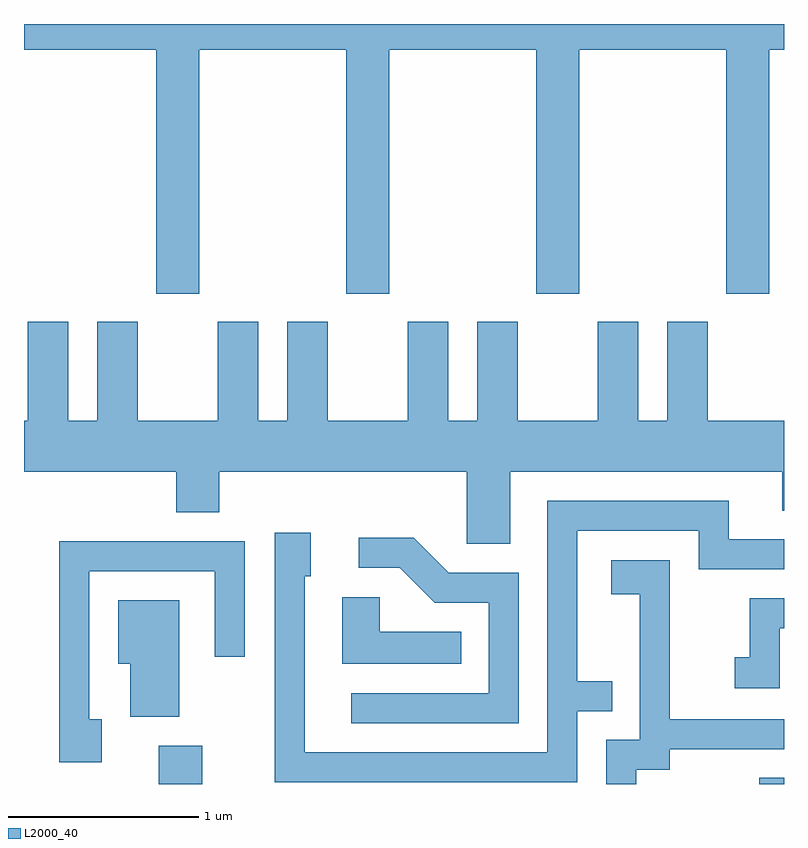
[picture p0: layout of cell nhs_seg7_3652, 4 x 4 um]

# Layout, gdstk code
import gdstk
lib = gdstk.Library(unit=1e-6, precision=1e-09)
def R(c, l, rs):  # rectangles x0, y0, x1, y1
    for r in rs: c.add(gdstk.rectangle(r[:2], r[2:], *l))
def P(c, l, *ps):  # polygons
    for p in ps: c.add(gdstk.Polygon(p, *l))
L2000_40 = (2000, 40)

nhs_seg7_3652 = lib.new_cell('nhs_seg7_3652')
R(nhs_seg7_3652, L2000_40, [(298.321,1688.252,298.549,1688.454), (301.481,1688.252,301.611,1688.284)])
P(nhs_seg7_3652, L2000_40, [(299.306,1690.831),(299.534,1690.831),(299.534,1692.116),(300.306,1692.116),(300.306,1690.831),(300.534,1690.831),(300.534,1692.116),(301.306,1692.116),(301.306,1690.831),(301.534,1690.831),(301.534,1692.116),(301.611,1692.116),(301.611,1692.252),(297.611,1692.252),(297.611,1692.116),(298.306,1692.116),(298.306,1690.831),(298.534,1690.831),(298.534,1692.116),(299.306,1692.116)],
  [(300.169,1689.896),(301.601,1689.896),(301.601,1689.691),(301.611,1689.691),(301.611,1690.164),(301.209,1690.164),(301.209,1690.684),(300.996,1690.684),(300.996,1690.164),(300.844,1690.164),(300.844,1690.684),(300.631,1690.684),(300.631,1690.164),(300.209,1690.164),(300.209,1690.684),(299.996,1690.684),(299.996,1690.164),(299.844,1690.164),(299.844,1690.684),(299.631,1690.684),(299.631,1690.164),(299.209,1690.164),(299.209,1690.684),(298.996,1690.684),(298.996,1690.164),(298.844,1690.164),(298.844,1690.684),(298.631,1690.684),(298.631,1690.164),(298.209,1690.164),(298.209,1690.684),(297.996,1690.684),(297.996,1690.164),(297.844,1690.164),(297.844,1690.684),(297.631,1690.684),(297.631,1690.164),(297.611,1690.164),(297.611,1689.896),(298.411,1689.896),(298.411,1689.681),(298.639,1689.681),(298.639,1689.896),(299.941,1689.896),(299.941,1689.516),(300.169,1689.516)],
  [(300.524,1688.636),(300.708,1688.636),(300.708,1688.794),(300.524,1688.794),(300.524,1689.586),(301.161,1689.586),(301.161,1689.381),(301.611,1689.381),(301.611,1689.539),(301.319,1689.539),(301.319,1689.744),(300.366,1689.744),(300.366,1688.419),(299.089,1688.419),(299.089,1689.346),(299.119,1689.346),(299.119,1689.574),(298.931,1689.574),(298.931,1688.261),(300.524,1688.261)],
  [(300.214,1689.364),(299.847,1689.364),(299.662,1689.549),(299.373,1689.549),(299.373,1689.391),(299.589,1689.391),(299.774,1689.206),(300.056,1689.206),(300.056,1688.729),(299.333,1688.729),(299.333,1688.571),(300.214,1688.571)],
  [(298.019,1688.594),(297.954,1688.594),(297.954,1689.371),(298.616,1689.371),(298.616,1688.923),(298.774,1688.923),(298.774,1689.529),(297.796,1689.529),(297.796,1688.366),(298.019,1688.366)],
  [(300.834,1688.326),(301.009,1688.326),(301.009,1688.436),(301.611,1688.436),(301.611,1688.594),(301.009,1688.594),(301.009,1689.429),(300.701,1689.429),(300.701,1689.251),(300.851,1689.251),(300.851,1688.484),(300.676,1688.484),(300.676,1688.252),(300.834,1688.252)],
  [(299.913,1689.054),(299.484,1689.054),(299.484,1689.234),(299.286,1689.234),(299.286,1688.886),(299.913,1688.886)],
  [(301.589,1689.071),(301.611,1689.071),(301.611,1689.229),(301.431,1689.229),(301.431,1688.919),(301.353,1688.919),(301.353,1688.756),(301.589,1688.756)],
  [(298.429,1689.219),(298.106,1689.219),(298.106,1688.886),(298.171,1688.886),(298.171,1688.606),(298.429,1688.606)])

lib.write_gds('nhs_seg7_3652.gds')
